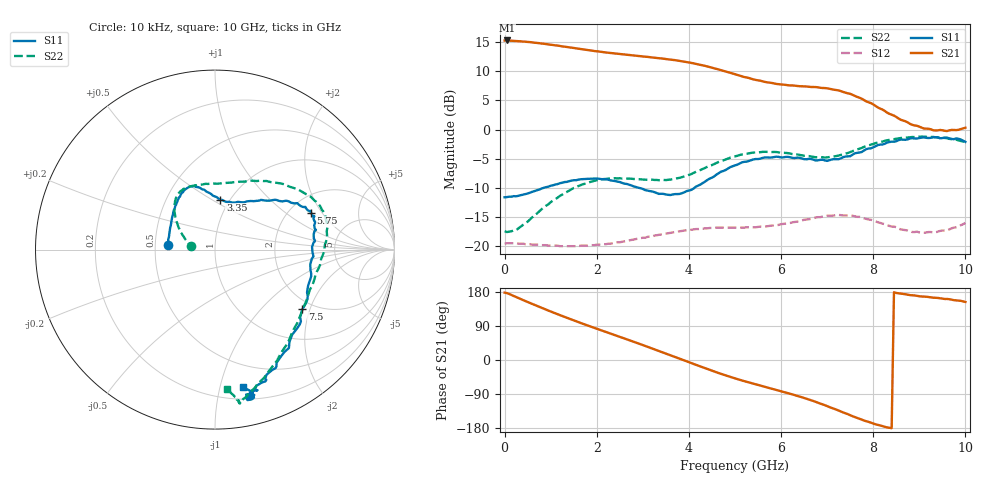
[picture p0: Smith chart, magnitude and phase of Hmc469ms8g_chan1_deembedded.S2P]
!Hittite Microwave Corporation
!20 Alpha Rd
!Chelmsford, MA 01824
!Tel: 978-250-3343
!Fax: 978-250-3373
!Device: HMC469MS8G, DC - 5 GHz SiGe HBT Dual Channel Gain Block in 8 lead MSOP SMT package
!Misc: Data taken on a part mounted evaluation PCB 104421-2,Bias: +8VDC	thru Bias Tee on the output; Channel 1
# MHZ S MA R 50
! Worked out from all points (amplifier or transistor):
!   201 points, 10 kHz to 10 GHz, reference 50 ohm
!   highest |S21| = 15.3 dB at 50.01 MHz (marker M1)
!   |S21| within 3 dB of that: start of sweep to 3.285 GHz
!   unconditionally stable (mu >= 1): start of sweep to 8.002 GHz
!   at 1.65 GHz: K = 1.15, MAG = 14.6 dB, |S12| = -20.0 dB
!   at 5 GHz: K = 1.06, MAG = 11.7 dB, |S12| = -16.9 dB
!   at 10 GHz: K = 0.89, MSG = 8.2 dB, |S12| = -16.1 dB
!   S11 on the Smith chart (normalised r, x): 10 kHz: 0.59, +0.03; 3.35 GHz: 0.91, +0.54; 5.75 GHz: 2.61, +1.59; 7.5 GHz: 1.76, -1.78; 10 GHz: 0.30, -1.18
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0.01  0.261 174.8  5.834 177.7  0.104 -2.3  0.133 171.8
50.01  0.262 175.7  5.846 176.5  0.105 -1.6  0.131 176.4
450.01  0.278 153.8  5.706 155.5  0.103 -9.1  0.156 164.4
900.009  0.319 135.7  5.44 132.9  0.101 -16.2  0.221 151.6
1300.009  0.353 124.8  5.174 113.8  0.099 -21.2  0.284 140.9
1700.008  0.374 116.5  4.898 95.6  0.1 -25.6  0.338 131.9
2000.008  0.378 111.4  4.719 82.5  0.102 -28.8  0.366 125.8
2450.008  0.356 104.0  4.493 63.2  0.107 -34.2  0.379 116.4
2900.007  0.316 95.3  4.302 43.7  0.115 -40.8  0.373 105.9
3350.007  0.279 83.9  4.111 23.9  0.124 -49.1  0.366 93.3
3700.006  0.278 73.6  3.956 8.1  0.131 -56.5  0.377 80.4
4050.006  0.302 60.8  3.749 -8.0  0.137 -65.0  0.413 66.5
4550.005  0.395 43.7  3.371 -30.4  0.142 -77.6  0.505 47.5
5000.005  0.491 33.2  2.994 -48.5  0.143 -87.7  0.587 32.6
5750.004  0.573 20.9  2.535 -74.2  0.148 -101.6  0.64 15.1
6700.003  0.551 4.2  2.322 -108.1  0.172 -123.0  0.58 -12.4
7050.003  0.544 -12.1  2.243 -124.3  0.181 -135.0  0.58 -27.0
7500.003  0.589 -34.1  2.03 -145.6  0.182 -151.7  0.639 -48.6
8050.002  0.718 -61.4  1.595 -169.7  0.162 -170.4  0.764 -69.0
8350.002  0.78 -68.5  1.365 -178.8  0.148 -176.9  0.814 -75.7
9100.001  0.856 -76.3  1.02 167.3  0.129 175.6  0.867 -81.0
10000  0.783 -78.5  1.037 153.1  0.157 167.4  0.779 -84.9
